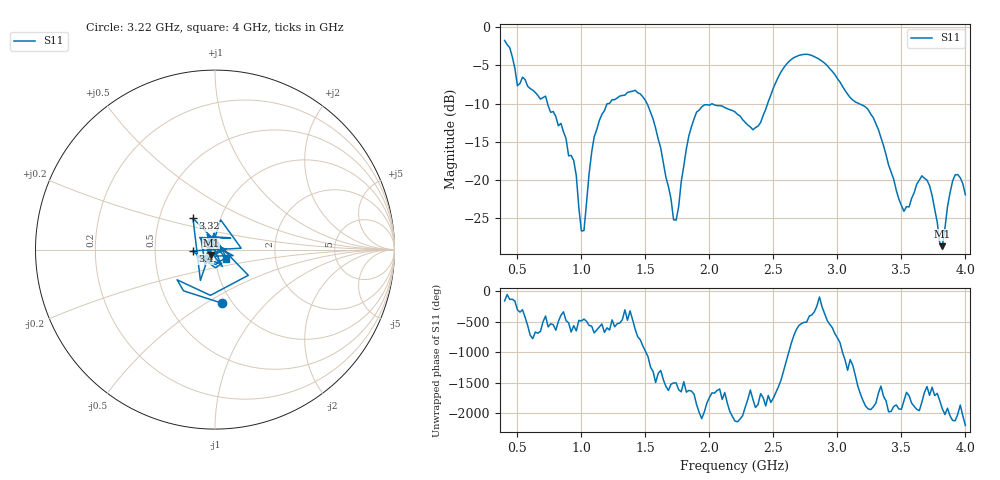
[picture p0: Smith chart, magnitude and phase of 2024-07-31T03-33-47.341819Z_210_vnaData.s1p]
!Created with skrf (http://scikit-rf.org).
# Hz S RI R 50.0
!freq ReS11 ImS11
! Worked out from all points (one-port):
!   181 points, 400 MHz to 4 GHz, reference 50 ohm
!   lowest |S11| = -28.7 dB at 3.82 GHz (marker M1), VSWR 1.08, Z = 47.8 - j2.83 ohm
!   |S11| at or under -10 dB: 735.6 MHz to 1.211 GHz (475.2 MHz wide, 48.8 % of centre); 1.512 GHz to 2.455 GHz (942.7 MHz wide, 47.5 % of centre); 3.167 GHz to end of sweep
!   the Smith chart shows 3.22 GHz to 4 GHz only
!   S11 on the Smith chart (normalised r, x): 3.22 GHz: 0.90, -0.59; 3.32 GHz: 0.74, +0.27; 3.4 GHz: 0.78, -0.01; 4 GHz: 1.12, -0.12
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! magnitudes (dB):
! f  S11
! 400 MHz  -1.7
! 500 MHz  -7.7
! 720 MHz  -9.0
! 860 MHz  -13.7
! 940 MHz  -17.5
! 1 GHz  -26.7
! 1.02 GHz  -26.6
! 1.1 GHz  -14.3
! 1.3 GHz  -9.0
! 1.5 GHz  -9.6
! 1.62 GHz  -15.9
! 1.72 GHz  -25.2
! 1.76 GHz  -23.5
! 1.82 GHz  -15.9
! 1.9 GHz  -11.1
! 2.2 GHz  -11.1
! 2.38 GHz  -13.0
! 2.66 GHz  -4.0
! 2.86 GHz  -4.2
! 3.1 GHz  -9.2
! 3.22 GHz  -10.4
! 3.32 GHz  -13.4
! 3.4 GHz  -18.1
! 3.56 GHz  -23.5
! 3.7 GHz  -20.0
! 3.82 GHz  -28.7
! 3.92 GHz  -19.3
! 4 GHz  -21.9
